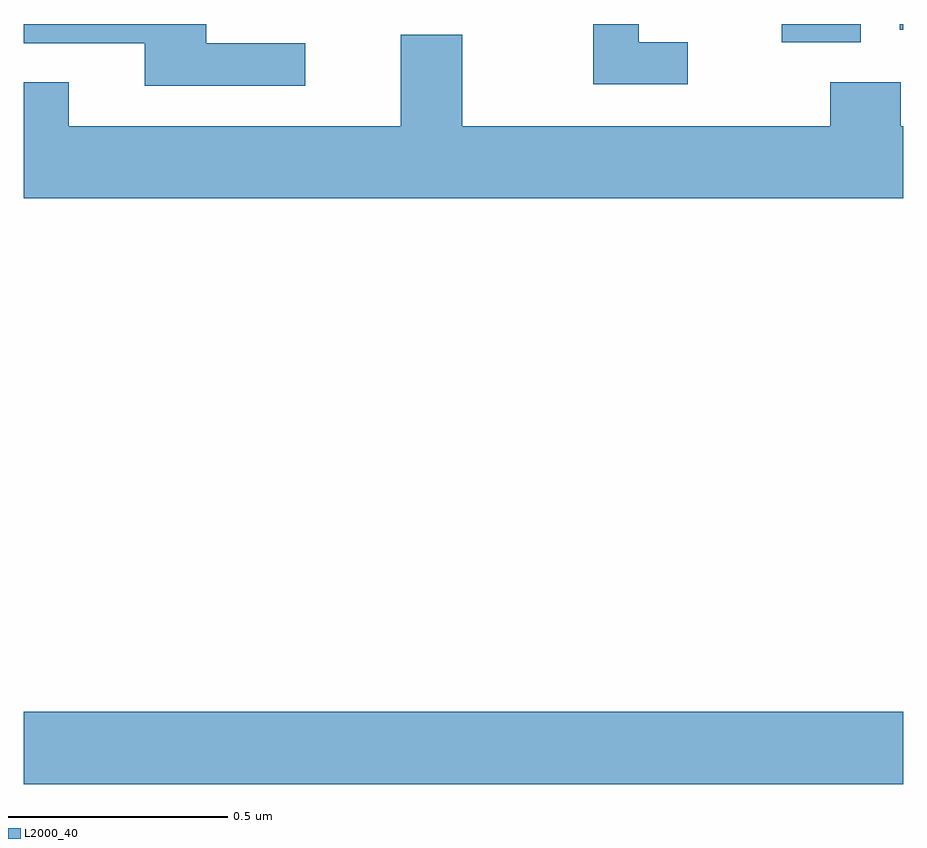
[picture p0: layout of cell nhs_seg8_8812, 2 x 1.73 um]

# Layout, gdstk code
import gdstk
lib = gdstk.Library(unit=1e-6, precision=1e-09)
def R(c, l, rs):  # rectangles x0, y0, x1, y1
    for r in rs: c.add(gdstk.rectangle(r[:2], r[2:], *l))
def P(c, l, *ps):  # polygons
    for p in ps: c.add(gdstk.Polygon(p, *l))
L2000_40 = (2000, 40)

nhs_seg8_8812 = lib.new_cell('nhs_seg8_8812')
R(nhs_seg8_8812, L2000_40, [(228,1111.172,230,1111.336), (229.724,1112.858,229.903,1112.9), (229.992,1112.887,230,1112.9)])
P(nhs_seg8_8812, L2000_40, [(228.64,1112.856),(228.415,1112.856),(228.415,1112.9),(228,1112.9),(228,1112.856),(228.275,1112.856),(228.275,1112.76),(228.64,1112.76)],
  [(229.51,1112.859),(229.399,1112.859),(229.399,1112.9),(229.295,1112.9),(229.295,1112.763),(229.51,1112.763)],
  [(230,1112.668),(229.994,1112.668),(229.994,1112.767),(229.834,1112.767),(229.834,1112.668),(228.997,1112.668),(228.997,1112.876),(228.857,1112.876),(228.857,1112.668),(228.103,1112.668),(228.103,1112.767),(228,1112.767),(228,1112.504),(230,1112.504)])

lib.write_gds('nhs_seg8_8812.gds')
